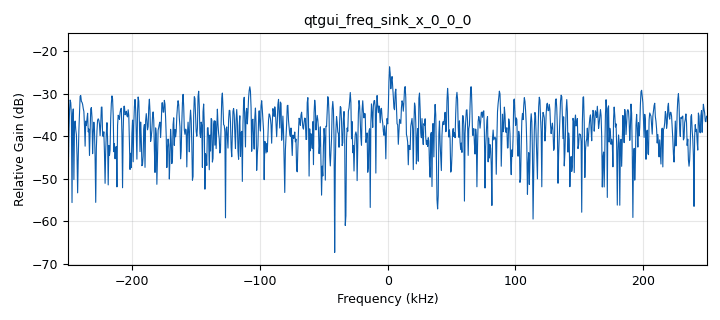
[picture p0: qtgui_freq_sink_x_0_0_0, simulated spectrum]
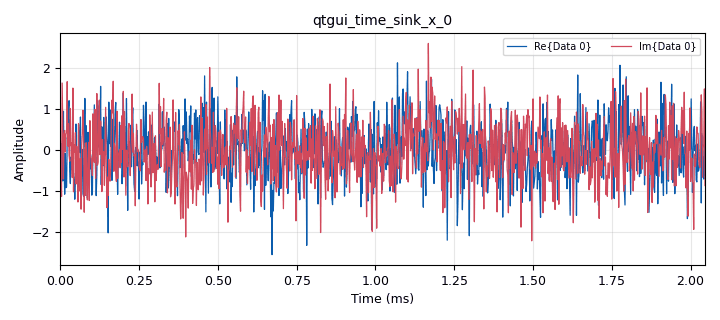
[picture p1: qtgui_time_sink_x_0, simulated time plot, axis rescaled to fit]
options:
  parameters:
    author: mineev
    generate_options: qt_gui
    id: simplesignal
    output_language: python
    title: Not titled yet
  states: {}

blocks:
- name: freq
  id: variable
  parameters:
    value: 7e6
  states: {}
- name: freq
  id: variable_qtgui_range
  parameters:
    start: '-17000'
    step: '1000'
    stop: '17000'
    value: '1000'
  states: {state: disabled}
- name: samp_down
  id: variable
  parameters:
    value: 48e3
  states: {}
- name: samp_rate
  id: variable
  parameters:
    value: 20e6
  states: {}
- name: analog_noise_source_x_0
  id: analog_noise_source_x
  parameters:
    amp: '1'
    noise_type: analog.GR_GAUSSIAN
    seed: '0'
    type: complex
  states: {}
- name: analog_sig_source_x_0
  id: analog_sig_source_x
  parameters:
    amp: '1'
    freq: freq
    offset: '0'
    phase: '0'
    samp_rate: samp_rate
    type: complex
    waveform: analog.GR_SIN_WAVE
  states: {}
- name: analog_sig_source_x_0_0
  id: analog_sig_source_x
  parameters:
    amp: '1'
    freq: '147'
    offset: '0'
    phase: '0'
    samp_rate: samp_down
    type: complex
    waveform: analog.GR_SIN_WAVE
  states: {}
- name: analog_sig_source_x_0_1
  id: analog_sig_source_x
  parameters:
    amp: '1'
    freq: '293'
    offset: '0'
    phase: '0'
    samp_rate: samp_down
    type: complex
    waveform: analog.GR_SIN_WAVE
  states: {}
- name: analog_sig_source_x_0_1_0
  id: analog_sig_source_x
  parameters:
    amp: '1'
    freq: '587'
    offset: '0'
    phase: '0'
    samp_rate: samp_down
    type: complex
    waveform: analog.GR_SIN_WAVE
  states: {}
- name: analog_sig_source_x_0_2
  id: analog_sig_source_x
  parameters:
    amp: '1'
    freq: '-freq'
    offset: '0'
    phase: '0'
    samp_rate: samp_rate
    type: complex
    waveform: analog.GR_SIN_WAVE
  states: {}
- name: band_pass_filter_0
  id: band_pass_filter
  parameters:
    decim: '40'
    gain: '1'
    high_cutoff_freq: 7.3e6
    low_cutoff_freq: 6.9e6
    samp_rate: samp_rate
    type: fir_filter_ccc
    width: 1e3
    win: window.WIN_HAMMING
  states: {state: disabled}
- name: blocks_add_xx_0
  id: blocks_add_xx
  parameters:
    num_inputs: '3'
    type: complex
  states: {}
- name: blocks_add_xx_0_0
  id: blocks_add_xx
  parameters:
    type: complex
  states: {}
- name: blocks_multiply_const_vxx_0
  id: blocks_multiply_const_vxx
  parameters:
    const: '0.1'
    type: complex
  states: {}
- name: blocks_multiply_xx_0
  id: blocks_multiply_xx
  parameters:
    type: complex
  states: {}
- name: blocks_multiply_xx_0_0
  id: blocks_multiply_xx
  parameters:
    type: complex
  states: {}
- name: blocks_throttle2_0
  id: blocks_throttle2
  parameters:
    samples_per_second: samp_rate
    type: complex
  states: {}
- name: blocks_throttle2_0_0_0
  id: blocks_throttle2
  parameters:
    samples_per_second: samp_down
    type: complex
  states: {}
- name: blocks_throttle2_0_0_0_0
  id: blocks_throttle2
  parameters:
    samples_per_second: samp_down
    type: complex
  states: {}
- name: blocks_throttle2_0_0_0_0_0
  id: blocks_throttle2
  parameters:
    samples_per_second: samp_down
    type: complex
  states: {}
- name: qtgui_freq_sink_x_0_0_0
  id: qtgui_freq_sink_x
  parameters:
    autoscale: 'True'
    bw: samp_rate/40
    fc: '0'
    fftsize: '1024'
    type: complex
  states: {}
- name: qtgui_time_sink_x_0
  id: qtgui_time_sink_x
  parameters:
    size: '1024'
    srate: samp_rate/40
    type: complex
  states: {}

connections:
- [analog_noise_source_x_0, '0', blocks_add_xx_0_0, '1']
- [analog_sig_source_x_0, '0', blocks_throttle2_0, '0']
- [analog_sig_source_x_0_0, '0', blocks_throttle2_0_0_0, '0']
- [analog_sig_source_x_0_1, '0', blocks_throttle2_0_0_0_0, '0']
- [analog_sig_source_x_0_1_0, '0', blocks_throttle2_0_0_0_0_0, '0']
- [analog_sig_source_x_0_2, '0', blocks_multiply_xx_0_0, '1']
- [band_pass_filter_0, '0', qtgui_freq_sink_x_0_0_0, '0']
- [band_pass_filter_0, '0', qtgui_time_sink_x_0, '0']
- [blocks_add_xx_0, '0', blocks_multiply_xx_0, '1']
- [blocks_add_xx_0_0, '0', band_pass_filter_0, '0']
- [blocks_add_xx_0_0, '0', blocks_multiply_xx_0_0, '0']
- [blocks_multiply_const_vxx_0, '0', blocks_add_xx_0_0, '0']
- [blocks_multiply_xx_0, '0', blocks_multiply_const_vxx_0, '0']
- [blocks_multiply_xx_0_0, '0', qtgui_freq_sink_x_0_0_0, '0']
- [blocks_multiply_xx_0_0, '0', qtgui_time_sink_x_0, '0']
- [blocks_throttle2_0, '0', blocks_multiply_xx_0, '0']
- [blocks_throttle2_0_0_0, '0', blocks_add_xx_0, '0']
- [blocks_throttle2_0_0_0_0, '0', blocks_add_xx_0, '1']
- [blocks_throttle2_0_0_0_0_0, '0', blocks_add_xx_0, '2']

metadata:
  file_format: 1
  grc_version: 3.10.7.0
